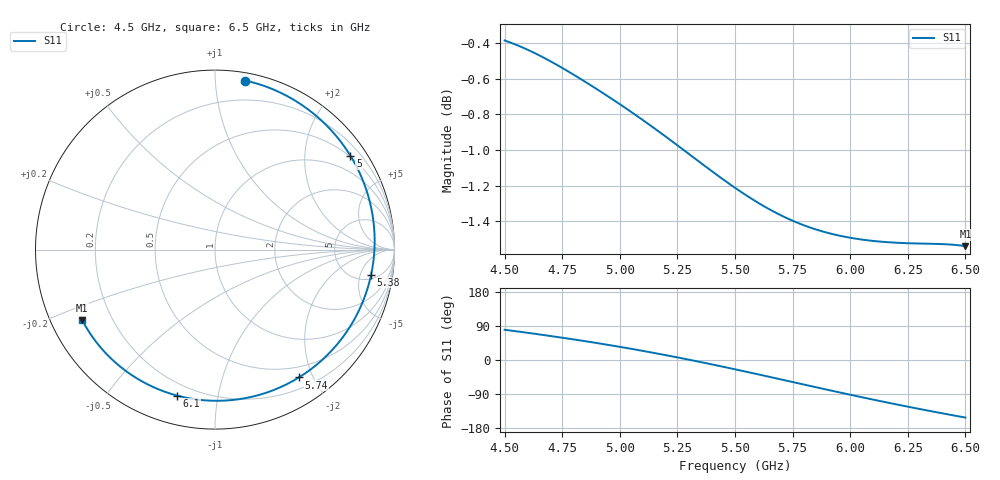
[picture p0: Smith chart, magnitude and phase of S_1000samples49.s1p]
! TOUCHSTONE file generated by CST MICROWAVE STUDIO
! Date and time: Wed Oct 26 19:53:00 2022
! Project name: L.cst
! Parameters = {Di=1.27; Epsilon_r=1.56; InnerDiameter=1.27; Length=2; Lf=10; Lg=60; OuterConductorThickness=0.2921; OuterDiameter=3.6; Wf=3; Wp=41.2; de=1.5; df=6.8; g=0.8; gx=3.51573; gy=0.946261; h=2.34; hf=1.524; px=8.47071; py=8.53924; w=9.7; wx=4.95499; wy=7.59298}
! Header version: 2018
! Port assignment regex: !\s*Touchstone port\s*([0-9]+)\s*=\s*(CST MWS port|CST DS port)\s*([0-9]+|Zmin|Zmax)\s*\(\"(.*)\"\)(\s*mode\s*([0-9]+))?.*
! Touchstone port assignment:
! Touchstone port 1 = CST MWS port 1 ("")
# GHz S DB R 50
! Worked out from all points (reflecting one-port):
!   101 points, 4.5 GHz to 6.5 GHz, reference 50 ohm
!   lowest |S11| = -1.5 dB at 6.5 GHz (marker M1), VSWR 11.31, Z = 4.69 - j12.4 ohm
!   phase of S11 starts at 80 deg and turns -232 deg over the sweep
!   S11 on the Smith chart (normalised r, x): 4.5 GHz: 0.05, +1.19; 5 GHz: 0.47, +3.14; 5.38 GHz: 6.16, -7.67; 5.74 GHz: 0.35, -1.80; 6.1 GHz: 0.14, -0.76; 6.5 GHz: 0.09, -0.25
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4.5  -0.39 79.8
4.64  -0.46 68.4
4.76  -0.55 57.9
4.88  -0.64 46.7
5  -0.74 34.7
5.08  -0.81 26.2
5.14  -0.87 19.6
5.2  -0.93 12.7
5.26  -0.98 5.6
5.32  -1.04 -1.6
5.38  -1.10 -9.1
5.44  -1.16 -16.7
5.5  -1.21 -24.5
5.56  -1.26 -32.5
5.62  -1.31 -40.5
5.68  -1.35 -48.6
5.74  -1.39 -56.7
5.76  -1.40 -59.5
5.82  -1.43 -67.6
5.88  -1.46 -75.7
5.94  -1.48 -83.7
6  -1.49 -91.6
6.1  -1.51 -104.6
6.18  -1.52 -114.6
6.26  -1.52 -124.3
6.38  -1.53 -138.4
6.44  -1.53 -145.2
6.5  -1.54 -151.9
